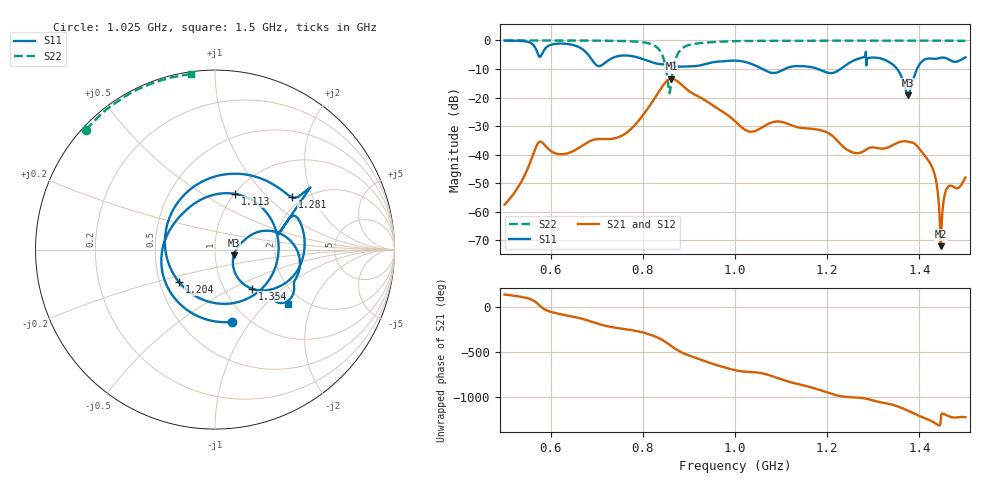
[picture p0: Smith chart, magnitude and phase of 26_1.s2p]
! TOUCHSTONE file generated by CST MICROWAVE STUDIO
! Date and time: Sat Nov 14 20:38:56 2020
! Project name: Scenario_1_Planar_Body_Tissue_Out_of_Line_v2.cst
! Parameters = {dy1=-86.5; L_HA=400; Ltissue=700; MT=2.54; Rad_Dielectric=30; Rad_Lower=7.3; Rad_Upper=30; Wtissue=700; a_HA=580; a_WG=246; b_HA=500; b_WG=121; c_HA=0; c_WG=187; d_feed=85; dx1=173; h_feed=15; h_lower=18; h_upper=40; hfat=3; hgap=25; hmuscle=50; hskin=1.5}
! Header version: 2018
! Port assignment regex: !\s*Touchstone port\s*([0-9]+)\s*=\s*(CST MWS port|CST DS port)\s*([0-9]+|Zmin|Zmax)\s*\(\"(.*)\"\)(\s*mode\s*([0-9]+))?.*
! Touchstone port assignment:
! Touchstone port 1 = CST MWS port 1 ("")
! Touchstone port 2 = CST MWS port 2 ("")
# GHz S DB R 50
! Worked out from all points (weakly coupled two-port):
!   1003 points, 500 MHz to 1.5 GHz, reference 50 ohm
!   highest |S21| = -13.40 dB at 862 MHz (marker M1); lowest = -72.0 dB at 1.447 GHz (marker M2)
!   lowest |S11| = -19.2 dB at 1.375 GHz (marker M3), VSWR 1.25, Z = 61.5 - j4.06 ohm
!   |S11| at or under -10 dB: 1.059 GHz to 1.108 GHz (48.66 MHz wide, 4.49 % of centre); 1.18 GHz to 1.229 GHz (48.8 MHz wide, 4.05 % of centre); 1.352 GHz to 1.395 GHz (43.11 MHz wide, 3.14 % of centre)
!   |S22| runs from -18.5 to 0.0 dB; largest |S21 - S12| = 4.4e-06
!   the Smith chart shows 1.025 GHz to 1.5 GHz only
!   S11 on the Smith chart (normalised r, x): 1.025 GHz: 0.85, -0.82; 1.113 GHz: 1.01, +0.70; 1.204 GHz: 0.63, -0.25; 1.281 GHz: 1.78, +1.42; 1.354 GHz: 1.34, -0.64; 1.5 GHz: 1.67, -1.36
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0.5  -0.04 -121.8  -57.45 131.7  -57.45 131.7  -0.01 151.2
0.575  -5.58 -162.3  -35.52 15.8  -35.52 15.8  -0.02 146.0
0.627  -1.11 173.0  -39.80 -90.0  -39.80 -90.0  -0.03 142.0
0.667  -2.86 108.7  -36.99 -133.6  -36.99 -133.6  -0.04 138.4
0.693  -7.54 21.1  -34.76 -174.4  -34.76 -174.4  -0.06 135.7
0.717  -7.95 -95.8  -34.52 149.6  -34.52 149.6  -0.09 132.7
0.756  -5.28 166.3  -33.19 114.7  -33.19 114.7  -0.20 126.4
0.834  -8.21 11.8  -18.15 13.4  -18.15 13.4  -2.97 83.4
0.862  -8.71 -64.0  -13.40 -76.4  -13.40 -76.4  -13.99 -110.0
0.945  -7.89 87.2  -22.00 99.1  -22.00 99.1  -0.66 149.9
1  -7.06 -24.3  -28.24 18.5  -28.24 18.5  -0.24 140.4
1.025  -7.66 -76.6  -31.55 0.9  -31.55 0.9  -0.18 137.1
1.113  -9.64 70.3  -29.07 -102.5  -29.07 -102.5  -0.11 128.6
1.167  -9.39 -40.6  -30.91 -173.7  -30.91 -173.7  -0.11 124.1
1.204  -11.38 -137.6  -32.54 127.0  -32.55 127.0  -0.11 121.4
1.281  -5.70 34.1  -38.56 68.8  -38.56 68.8  -0.08 115.5
1.334  -7.53 -28.4  -37.33 7.6  -37.33 7.6  -0.08 111.6
1.354  -10.49 -46.7  -35.70 -22.6  -35.70 -22.6  -0.08 110.0
1.375  -19.22 -17.4  -35.39 -66.4  -35.39 -66.4  -0.09 108.4
1.428  -6.39 -18.8  -44.42 174.1  -44.42 174.1  -0.09 104.1
1.447  -6.05 -28.2  -71.99 -134.0  -71.98 -133.9  -0.10 102.5
1.5  -5.93 -36.7  -47.97 -139.5  -47.97 -139.5  -0.12 97.9
